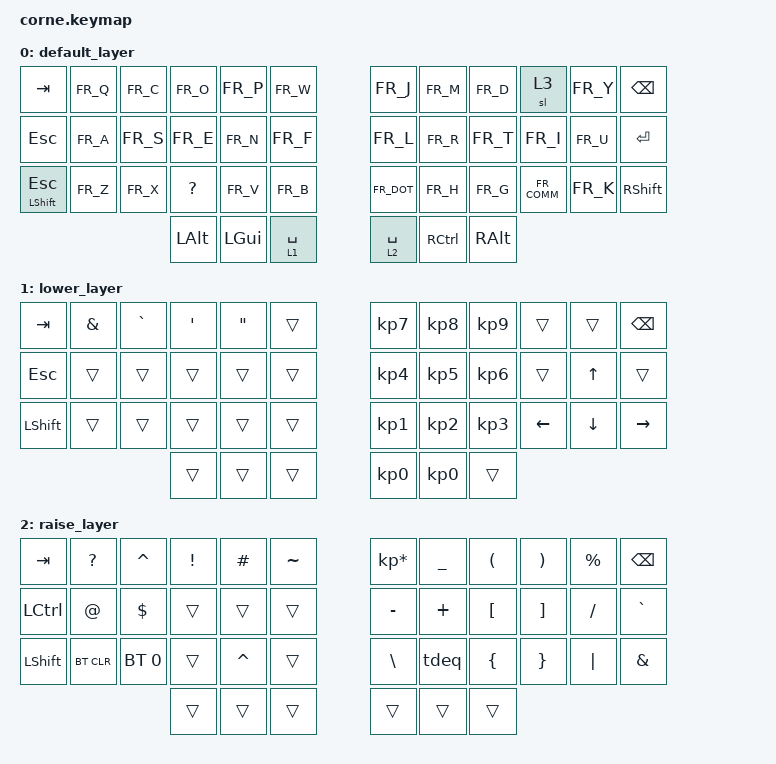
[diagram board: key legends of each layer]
/*
 * Copyright (c) 2020 The ZMK Contributors
 *
 * SPDX-License-Identifier: MIT
 */

#include <behaviors.dtsi>
#include <dt-bindings/zmk/keys.h>
#include <dt-bindings/zmk/bt.h>
#include <dt-bindings/zmk/outputs.h>

&lt {
    tapping-term-ms = <185>;
};

&sl {
    release-after-ms = <2000>;
};

&nice_view_spi {
    cs-gpios = <&pro_micro 16 GPIO_ACTIVE_HIGH>;
};

/ {
    macros {
        e_acc: e_acc {
            label = "ZM_e_acc";
            compatible = "zmk,behavior-macro";
            #binding-cells = <0>;
            bindings = <&macro_tap &kp RA(E) &kp E>;
        };
        e_acc_g: e_acc_g {
            label = "ZM_e_acc_g";
            compatible = "zmk,behavior-macro";
            #binding-cells = <0>;
            bindings = <&macro_tap &kp RA(GRAVE) &kp E>;
        };
        a_acc: a_acc {
            label = "ZM_a_acc";
            compatible = "zmk,behavior-macro";
            #binding-cells = <0>;
            bindings = <&macro_tap &kp RA(GRAVE) &kp A>;
        };
        u_acc: u_acc {
            label = "ZM_u_acc";
            compatible = "zmk,behavior-macro";
            #binding-cells = <0>;
            bindings = <&macro_tap &kp RA(GRAVE) &kp U>;
        };
        arrow: arrow {
            label = "ZM_arrow";
            compatible = "zmk,behavior-macro";
            #binding-cells = <0>;
            bindings = <&macro_tap &kp EQUAL &kp GT>;
        };
    };

    behaviors {
	    esc_sh: esc_sh {
            compatible = "zmk,behavior-hold-tap";
            label = "ESC_SHIFT";
            #binding-cells = <2>;
            tapping-term-ms = <175>;
            quick-tap-ms = <0>;
            flavor = "tap-preferred";
            bindings = <&kp>, <&kp>;
        };

        tde: tap_dance_1 {
            compatible = "zmk,behavior-tap-dance";
            label = "TAP_DANCE_1";
            #binding-cells = <0>;
            tapping-term-ms = <175>;
            bindings = <&kp E>, <&e_acc>, <&e_acc_g>;
        };

        td2: tap_dance_2 {
            compatible = "zmk,behavior-tap-dance";
            label = "TAP_DANCE_2";
            #binding-cells = <0>;
            tapping-term-ms = <200>;
            bindings = <&kp SEMI>, <&kp LS(SEMI)>;
        };

        tda: tap_dance_3 {
            compatible = "zmk,behavior-tap-dance";
            label = "TAP_DANCE_3";
            #binding-cells = <0>;
            tapping-term-ms = <175>;
            bindings = <&kp A>, <&a_acc>;
        };

        tdu: tap_dance_4 {
            compatible = "zmk,behavior-tap-dance";
            label = "TAP_DANCE_4";
            #binding-cells = <0>;
            tapping-term-ms = <175>;
            bindings = <&kp U>, <&u_acc>;
        };

        tdeq: tap_dance_5 {
            compatible = "zmk,behavior-tap-dance";
            label = "TAP_DANCE_5";
            #binding-cells = <0>;
            tapping-term-ms = <175>;
            bindings = <&kp EQUAL>, <&arrow>;
        };

        c_m: comma_morph {
            compatible = "zmk,behavior-mod-morph";
            label = "COMMA_MORPH";
            #binding-cells = <0>;
            bindings = <&kp COMMA>, <&kp LEFT>;
            mods = <MOD_LGUI>;
            keep-mods = <(MOD_LGUI)>;
        };

        semi_morph: semi_morph {
            compatible = "zmk,behavior-mod-morph";
            label = "SEMI_MORPH";
            #binding-cells = <0>;
            bindings = <&kp COLON>, <&kp SEMI>;
            mods = <(MOD_LSFT|MOD_RSFT)>;
        };
    };

    keymap {
        compatible = "zmk,keymap";

        default_layer {
            // --------------------------------------   -----------------------------------------
            // | TAB  |  Q  |  C  |  O   |  P  |  W  |   |  J  |  M   |  D  |  *  |  Y  | BKSP   |
            // | ESC  |  A  |  S  |  E   |  N  |  F  |   |  L  |  R   |  T  |  I  |  U  | ENT    |
            // | SHFT |  Z  |  X  |  ?   |  V  |  B  |   |  .  |  H   |  G  |  ,  |  K  | R_SHFT |
            //                    | LALT | CMD | SPC |   | SPC | CTRL | ALT |
            bindings = <
                &kp TAB           &kp FR_Q      &kp FR_C        &kp FR_O        &kp FR_P      &kp FR_W  /**/  &kp FR_J    &kp FR_M   &kp FR_D  &sl 3       &kp FR_Y  &kp BSPC
                &kp ESC           &kp FR_A      &kp FR_S        &kp FR_E        &kp FR_N      &kp FR_F  /**/  &kp FR_L    &kp FR_R   &kp FR_T  &kp FR_I    &kp FR_U  &kp RET
		        &esc_sh LSHFT ESC &kp FR_Z      &kp FR_X        &kp QMARK       &kp FR_V      &kp FR_B  /**/  &kp FR_DOT  &kp FR_H   &kp FR_G  &kp FR_COMM &kp FR_K  &kp RSHFT
                &kp LALT          &kp LGUI   &lt 1 SPACE  /**/ &lt 2 SPACE  &kp RCTRL  &kp RALT
            >;
        };

        lower_layer {
            // ----------------------------------    ----------------------------------------
            // |  TAB  |  &  |  `  |  '  |  "  |     |  7  |  8  |  9  |      |      | BKSP |
            // |  ESC  |     |     |     |     |     |  4  |  5  |  6  |      | UP   |      | 
            // | SHFT  |     |     |     |     |     |  1  |  2  |  3  | LEFT | DOWN | RGT  |
            //               |     |     | SPC |     |  0  |  0  |     |
            bindings = <
                &kp TAB    &kp AMPS  &kp GRAVE  &kp SQT    &kp DQT    &trans    &kp KP_N7  &kp KP_N8  &kp KP_N9  &trans    &trans    &kp BSPC
                &kp ESC    &trans    &trans     &trans     &trans     &trans    &kp KP_N4  &kp KP_N5  &kp KP_N6  &trans    &kp UP    &trans
                &kp LSHFT  &trans    &trans     &trans     &trans     &trans    &kp KP_N1  &kp KP_N2  &kp KP_N3  &kp LEFT  &kp DOWN  &kp RIGHT
                &trans     &trans    &trans     &kp KP_N0  &kp KP_N0  &trans
            >;
        };

        raise_layer {
            // -----------------------------------------------------------------------------------------
            // |  TAB |  ?  |  ^  |  !  |  #  |  ~  |   |  *  |  _  |  (  |  )  |  %  | BKSP |
            // | CTRL |  @  |  $  |     |     |     |   |  -  |  +  |  [  |  ]  |  /  |  `   |
            // | SHFT |     |     |     |  ^  |     |   |  \  |  =  |  {  |  }  | "|" |  &   |
            //                    | GUI |     | SPC |   | ENT |     | ALT |
            bindings = <
                &kp TAB     &kp QMARK      &kp CARET	&kp EXCL     	&kp HASH  	&kp TILDE       &kp KP_MULTIPLY		&kp UNDER	&kp LPAR	&kp RPAR	&kp PRCNT	&kp BSPC
                &kp LCTRL   &kp AT         &kp DLLR	&trans       	&trans    	&trans          &kp MINUS       	&kp PLUS	&kp LBKT	&kp RBKT	&kp FSLH	&kp GRAVE
                &kp LSHFT   &bt BT_CLR     &bt BT_SEL 0	&trans          &kp CARET	&trans		&kp BSLH        	&tdeq		&kp LBRC	&kp RBRC	&kp PIPE	&kp AMPS
                &trans      &trans         &trans	&trans      	&trans    	&trans
            >;
        };

        accent_layer {
            
        }
    };
};
